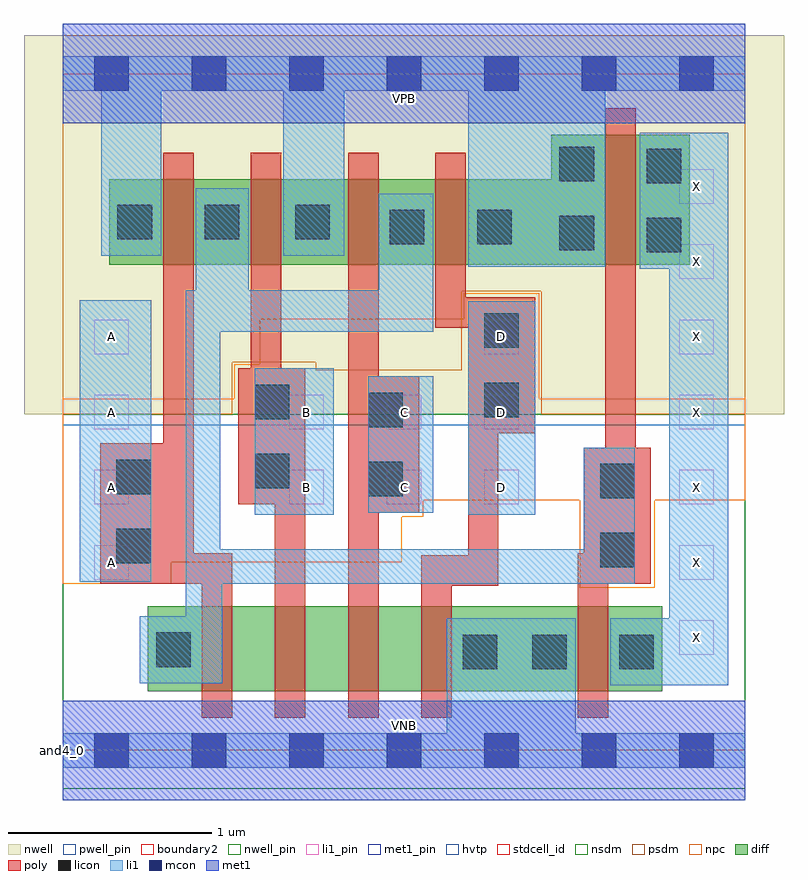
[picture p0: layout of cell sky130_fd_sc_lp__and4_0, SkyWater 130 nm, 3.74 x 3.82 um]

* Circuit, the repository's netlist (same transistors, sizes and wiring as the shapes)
* Copyright 2020 The SkyWater PDK Authors
*
* Licensed under the Apache License, Version 2.0 (the "License");
* you may not use this file except in compliance with the License.
* You may obtain a copy of the License at
*
*     https://www.apache.org/licenses/LICENSE-2.0
*
* Unless required by applicable law or agreed to in writing, software
* distributed under the License is distributed on an "AS IS" BASIS,
* WITHOUT WARRANTIES OR CONDITIONS OF ANY KIND, either express or implied.
* See the License for the specific language governing permissions and
* limitations under the License.
*
* SPDX-License-Identifier: Apache-2.0

.SUBCKT sky130_fd_sc_lp__and4_0 A B C D VGND VNB VPB VPWR X
*.PININFO A:I B:I C:I D:I VGND:I VNB:I VPB:I VPWR:I X:O
MMP0 y A VPWR VPB sky130_fd_pr__pfet_01v8_hvt m=1 w=0.42U l=0.15U mult=1 sa=0.265
+ sb=0.265 sd=0.28 area=0.063 perim=1.14
MMP1 y B VPWR VPB sky130_fd_pr__pfet_01v8_hvt m=1 w=0.42U l=0.15U mult=1 sa=0.265
+ sb=0.265 sd=0.28 area=0.063 perim=1.14
MMP2 y C VPWR VPB sky130_fd_pr__pfet_01v8_hvt m=1 w=0.42U l=0.15U mult=1 sa=0.265
+ sb=0.265 sd=0.28 area=0.063 perim=1.14
MMP3 y D VPWR VPB sky130_fd_pr__pfet_01v8_hvt m=1 w=0.42U l=0.15U mult=1 sa=0.265
+ sb=0.265 sd=0.28 area=0.063 perim=1.14
MMIP0 X y VPWR VPB sky130_fd_pr__pfet_01v8_hvt m=1 w=0.64U l=0.15U mult=1 sa=0.265
+ sb=0.265 sd=0.28 area=0.063 perim=1.14
MMN0 y A sndA VNB sky130_fd_pr__nfet_01v8 m=1 w=0.42U l=0.15U mult=1 sa=0.265 sb=0.265
+ sd=0.28 area=0.063 perim=1.14
MMN1 sndA B sndB VNB sky130_fd_pr__nfet_01v8 m=1 w=0.42U l=0.15U mult=1 sa=0.265
+ sb=0.265 sd=0.28 area=0.063 perim=1.14
MMN2 sndB C sndC VNB sky130_fd_pr__nfet_01v8 m=1 w=0.42U l=0.15U mult=1 sa=0.265
+ sb=0.265 sd=0.28 area=0.063 perim=1.14
MMN3 sndC D VGND VNB sky130_fd_pr__nfet_01v8 m=1 w=0.42U l=0.15U mult=1 sa=0.265
+ sb=0.265 sd=0.28 area=0.063 perim=1.14
MMIN0 X y VGND VNB sky130_fd_pr__nfet_01v8 m=1 w=0.42U l=0.15U mult=1 sa=0.265
+ sb=0.265 sd=0.28 area=0.063 perim=1.14
.ENDS sky130_fd_sc_lp__and4_0

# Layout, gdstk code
import gdstk
lib = gdstk.Library(unit=1e-6, precision=1e-09)
def R(c, l, rs):  # rectangles x0, y0, x1, y1
    for r in rs: c.add(gdstk.rectangle(r[:2], r[2:], *l))
def A(c, l, x, y, w, h, nx, ny, dx, dy):  # array of equal rectangles
    R(c, l, [(x+i*dx, y+j*dy, x+i*dx+w, y+j*dy+h) for i in range(nx) for j in range(ny)])
def P(c, l, *ps):  # polygons
    for p in ps: c.add(gdstk.Polygon(p, *l))
nwell_pin = (64, 16)
nwell = (64, 20)
diff = (65, 20)
poly = (66, 20)
licon = (66, 44)
li1_pin = (67, 16)
li1 = (67, 20)
mcon = (67, 44)
met1_pin = (68, 16)
met1 = (68, 20)
hvtp = (78, 44)
stdcell_id = (81, 4)
nsdm = (93, 44)
psdm = (94, 20)
npc = (95, 20)
pwell_pin = (122, 16)
boundary2 = (236, 0)

sky130_fd_sc_lp__and4_0 = lib.new_cell('sky130_fd_sc_lp__and4_0')
R(sky130_fd_sc_lp__and4_0, nwell_pin, [(0,3.085,3.36,3.33)])
R(sky130_fd_sc_lp__and4_0, nwell, [(-0.19,1.655,3.55,3.52)])
R(sky130_fd_sc_lp__and4_0, diff, [(0.42,0.29,2.95,0.71)])
P(sky130_fd_sc_lp__and4_0, diff, [(3.085,3.03),(2.405,3.03),(2.405,2.81),(0.23,2.81),(0.23,2.39),(3.085,2.39)])
P(sky130_fd_sc_lp__and4_0, poly, [(1.755,1.84),(1.555,1.84),(1.555,2.94),(1.405,2.94),(1.405,0.16),(1.555,0.16),(1.555,1.17),(1.755,1.17)],
  [(1.195,1.88),(1.075,1.88),(1.075,2.94),(0.925,2.94),(0.925,1.88),(0.865,1.88),(0.865,1.21),(1.045,1.21),(1.045,0.16),(1.195,0.16)],
  [(0.835,0.97),(0.645,0.97),(0.645,2.94),(0.495,2.94),(0.495,1.51),(0.185,1.51),(0.185,0.82),(0.685,0.82),(0.685,0.16),(0.835,0.16)],
  [(2.895,1.49),(2.82,1.49),(2.82,3.16),(2.67,3.16),(2.67,1.49),(2.565,1.49),(2.565,0.97),(2.535,0.97),(2.535,0.16),(2.685,0.16),(2.685,0.82),(2.895,0.82)],
  [(2.325,2.23),(1.985,2.23),(1.985,2.94),(1.835,2.94),(1.835,2.08),(1.995,2.08),(1.995,0.96),(1.765,0.96),(1.765,0.16),(1.915,0.16),(1.915,0.81),(2.145,0.81),(2.145,1.56),(2.325,1.56)])
R(sky130_fd_sc_lp__and4_0, licon, [(1.97,0.4,2.14,0.57), (2.31,0.4,2.48,0.57), (2.74,0.4,2.91,0.57), (0.46,0.41,0.63,0.58), (2.645,0.9,2.815,1.07), (0.265,0.92,0.435,1.09), (2.645,1.24,2.815,1.41), (1.505,1.25,1.675,1.42), (0.265,1.26,0.435,1.43), (0.945,1.29,1.115,1.46), (1.505,1.59,1.675,1.76), (0.945,1.63,1.115,1.8), (2.075,1.64,2.245,1.81), (2.075,1.98,2.245,2.15), (2.875,2.45,3.045,2.62), (2.445,2.46,2.615,2.63), (1.61,2.49,1.78,2.66), (2.04,2.49,2.21,2.66), (0.27,2.515,0.44,2.685), (0.7,2.515,0.87,2.685), (1.145,2.515,1.315,2.685), (2.875,2.79,3.045,2.96), (2.445,2.8,2.615,2.97)])
A(sky130_fd_sc_lp__and4_0, li1_pin, 3.035, 0.47, 0.17, 0.17, 1, 7, 0, 0.37)
A(sky130_fd_sc_lp__and4_0, li1_pin, 0.155, 0.84, 0.17, 0.17, 1, 4, 0, 0.37)
A(sky130_fd_sc_lp__and4_0, li1_pin, 1.115, 1.21, 0.17, 0.17, 3, 2, 0.48, 0.37)
R(sky130_fd_sc_lp__and4_0, li1_pin, [(2.075,1.95,2.245,2.12)])
R(sky130_fd_sc_lp__and4_0, li1, [(0.085,0.83,0.435,2.215), (0.945,1.16,1.335,1.88), (1.995,1.16,2.325,2.21), (1.505,1.17,1.825,1.84)])
P(sky130_fd_sc_lp__and4_0, li1, [(3.36,3.415),(0,3.415),(0,3.245),(0.19,3.245),(0.19,2.435),(0.485,2.435),(0.485,3.245),(1.085,3.245),(1.085,2.435),(1.385,2.435),(1.385,3.245),(1.995,3.245),(1.995,2.38),(2.67,2.38),(2.67,3.245),(3.36,3.245)],
  [(3.275,3.04),(2.84,3.04),(2.84,2.37),(2.985,2.37),(2.985,0.65),(2.695,0.65),(2.695,0.32),(3.275,0.32)],
  [(2.815,1.49),(2.565,1.49),(2.565,0.99),(0.775,0.99),(0.775,2.06),(1.825,2.06),(1.825,2.74),(1.555,2.74),(1.555,2.265),(0.915,2.265),(0.915,2.765),(0.655,2.765),(0.655,2.265),(0.605,2.265),(0.605,0.66),(0.38,0.66),(0.38,0.33),(0.785,0.33),(0.785,0.82),(2.815,0.82)],
  [(3.36,0.085),(2.525,0.085),(2.525,0.65),(1.89,0.65),(1.89,0.085),(0,0.085),(0,-0.085),(3.36,-0.085)])
A(sky130_fd_sc_lp__and4_0, mcon, 0.155, -0.085, 0.17, 0.17, 7, 2, 0.48, 3.33)
R(sky130_fd_sc_lp__and4_0, met1_pin, [(0,0,3.36,0.245), (0,3.085,3.36,3.33)])
R(sky130_fd_sc_lp__and4_0, met1, [(0,-0.245,3.36,0.245), (0,3.085,3.36,3.575)])
R(sky130_fd_sc_lp__and4_0, hvtp, [(0,1.6,3.36,3.33)])
R(sky130_fd_sc_lp__and4_0, stdcell_id, [(0,0,3.36,3.33)])
R(sky130_fd_sc_lp__and4_0, nsdm, [(0,-0.19,3.36,1.655)])
P(sky130_fd_sc_lp__and4_0, psdm, [(3.36,3.52),(0,3.52),(0,1.655),(0.835,1.655),(0.835,1.91),(1.245,1.91),(1.245,1.87),(1.965,1.87),(1.965,2.26),(2.355,2.26),(2.355,1.655),(3.36,1.655)])
P(sky130_fd_sc_lp__and4_0, npc, [(3.36,1.73),(2.345,1.73),(2.345,2.25),(1.975,2.25),(1.975,2.125),(0.97,2.125),(0.97,1.9),(0.845,1.9),(0.845,1.73),(0,1.73),(0,0.82),(0.535,0.82),(0.535,0.925),(1.67,0.925),(1.67,1.15),(1.775,1.15),(1.775,1.23),(2.545,1.23),(2.545,0.8),(2.915,0.8),(2.915,1.23),(3.36,1.23)])
R(sky130_fd_sc_lp__and4_0, pwell_pin, [(0,0,3.36,0.245)])
R(sky130_fd_sc_lp__and4_0, boundary2, [(0,0,3.36,3.33)])
sky130_fd_sc_lp__and4_0.add(gdstk.Label('VNB', (1.68,0.123), layer=64, texttype=59))
sky130_fd_sc_lp__and4_0.add(gdstk.Label('VPB', (1.68,3.208), layer=64, texttype=5))
sky130_fd_sc_lp__and4_0.add(gdstk.Label('and4_0', (0,0), layer=83, texttype=44))
sky130_fd_sc_lp__and4_0.add(gdstk.Label('VPWR', (1.68,3.208), layer=68, texttype=5))
sky130_fd_sc_lp__and4_0.add(gdstk.Label('VGND', (1.68,0.123), layer=68, texttype=5))
sky130_fd_sc_lp__and4_0.add(gdstk.Label('A', (0.24,0.925), layer=67, texttype=5))
sky130_fd_sc_lp__and4_0.add(gdstk.Label('A', (0.24,1.295), layer=67, texttype=5))
sky130_fd_sc_lp__and4_0.add(gdstk.Label('A', (0.24,1.665), layer=67, texttype=5))
sky130_fd_sc_lp__and4_0.add(gdstk.Label('A', (0.24,2.035), layer=67, texttype=5))
sky130_fd_sc_lp__and4_0.add(gdstk.Label('B', (1.2,1.295), layer=67, texttype=5))
sky130_fd_sc_lp__and4_0.add(gdstk.Label('B', (1.2,1.665), layer=67, texttype=5))
sky130_fd_sc_lp__and4_0.add(gdstk.Label('C', (1.68,1.295), layer=67, texttype=5))
sky130_fd_sc_lp__and4_0.add(gdstk.Label('C', (1.68,1.665), layer=67, texttype=5))
sky130_fd_sc_lp__and4_0.add(gdstk.Label('X', (3.12,0.555), layer=67, texttype=5))
sky130_fd_sc_lp__and4_0.add(gdstk.Label('D', (2.16,1.295), layer=67, texttype=5))
sky130_fd_sc_lp__and4_0.add(gdstk.Label('D', (2.16,1.665), layer=67, texttype=5))
sky130_fd_sc_lp__and4_0.add(gdstk.Label('D', (2.16,2.035), layer=67, texttype=5))
sky130_fd_sc_lp__and4_0.add(gdstk.Label('X', (3.12,2.775), layer=67, texttype=5))
sky130_fd_sc_lp__and4_0.add(gdstk.Label('X', (3.12,2.405), layer=67, texttype=5))
sky130_fd_sc_lp__and4_0.add(gdstk.Label('X', (3.12,2.035), layer=67, texttype=5))
sky130_fd_sc_lp__and4_0.add(gdstk.Label('X', (3.12,1.665), layer=67, texttype=5))
sky130_fd_sc_lp__and4_0.add(gdstk.Label('X', (3.12,1.295), layer=67, texttype=5))
sky130_fd_sc_lp__and4_0.add(gdstk.Label('X', (3.12,0.925), layer=67, texttype=5))

lib.write_gds('sky130_fd_sc_lp__and4_0.gds')
